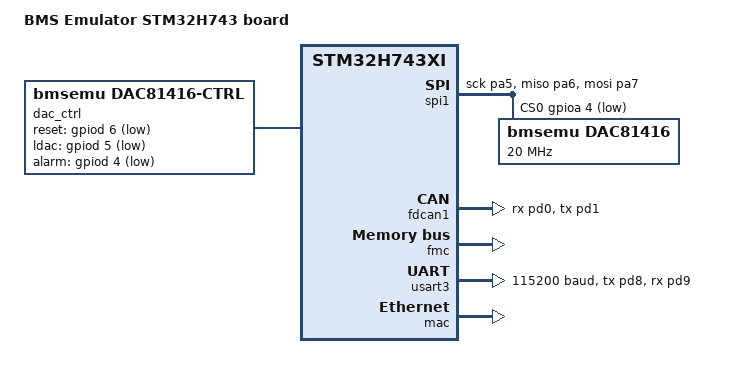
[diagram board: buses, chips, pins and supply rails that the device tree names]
/*
 * SPDX-License-Identifier: Apache-2.0
 *
 * BMS 故障模拟装置主控板 —— STM32H743。
 * 所有硬件资源(SPI+DAC81416、CAN、FMC 外部 SRAM、以太网 PHY)在此描述。
 * 换 MCU 时:新建一块 board 目录并改写本文件,app/ 与 drivers/ 代码不动。
 */
/dts-v1/;
#include <st/h7/stm32h743Xi.dtsi>
#include <st/h7/stm32h743zitx-pinctrl.dtsi>

/ {
	model = "BMS Emulator STM32H743 board";
	compatible = "bmsemu,bms-emu-h743";

	chosen {
		zephyr,sram = &sram0;
		zephyr,flash = &flash0;
		zephyr,console = &usart3;
		zephyr,shell-uart = &usart3;
		zephyr,canbus = &fdcan1;
	};

	/* DAC81416 控制引脚(RESET / LDAC / ALARM),供自定义 BSP 驱动使用 */
	dac_ctrl: dac-control {
		compatible = "bmsemu,dac81416-ctrl";
		reset-gpios = <&gpiod 6 GPIO_ACTIVE_LOW>;
		ldac-gpios  = <&gpiod 5 GPIO_ACTIVE_LOW>;
		alarm-gpios = <&gpiod 4 GPIO_ACTIVE_LOW>;
	};
};

/* DAC81416 走 SPI(24 位帧),刷新率 >= 1kHz;换 DAC 时改此节点 compatible */
&spi1 {
	pinctrl-0 = <&spi1_sck_pa5 &spi1_miso_pa6 &spi1_mosi_pa7>;
	pinctrl-names = "default";
	status = "okay";
	cs-gpios = <&gpioa 4 GPIO_ACTIVE_LOW>;

	dac81416: dac@0 {
		compatible = "bmsemu,dac81416";
		reg = <0>;
		spi-max-frequency = <20000000>;
		status = "okay";
	};
};

/* CAN 控制帧通道(can_protocol) */
&fdcan1 {
	pinctrl-0 = <&fdcan1_rx_pd0 &fdcan1_tx_pd1>;
	pinctrl-names = "default";
	status = "okay";
};

/* 外部 SRAM(FMC),波形引擎 DMA 缓冲 */
&fmc {
	status = "okay";
};

&usart3 {
	pinctrl-0 = <&usart3_tx_pd8 &usart3_rx_pd9>;
	pinctrl-names = "default";
	current-speed = <115200>;
	status = "okay";
};

/* 以太网 PHY(RJ45 10/100M) */
&mac {
	status = "okay";
	pinctrl-names = "default";
};
